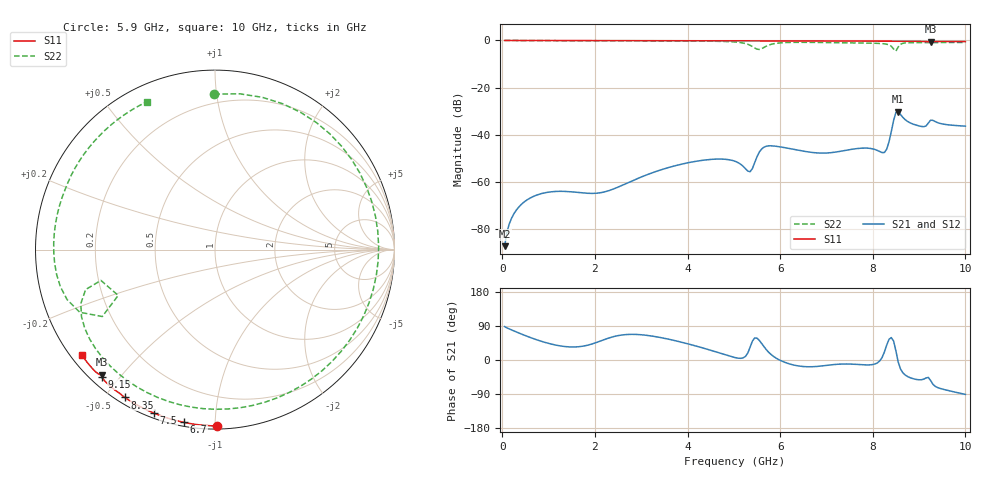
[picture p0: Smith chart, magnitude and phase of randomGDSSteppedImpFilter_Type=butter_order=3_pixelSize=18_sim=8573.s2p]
! freq	dB(S11)	phase(S11)	dB(S12)	phase(S12)
!  dB(S21)	phase(S21)	dB(S22)	phase(S22)
!S-par simulation data
#  GHz  S  DB  R 50
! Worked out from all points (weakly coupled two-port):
!   200 points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, 50 MHz to 10 GHz, reference 50 ohm
!   highest |S21| = -30.10 dB at 8.55 GHz (marker M1); lowest = -87.1 dB at 50 MHz (marker M2)
!   lowest |S11| = -0.5 dB at 9.25 GHz (marker M3), VSWR 31.88, Z = 1.88 - j22.2 ohm
!   |S11| at or under -10 dB: nowhere
!   |S22| runs from -4.5 to 0.0 dB; largest |S21 - S12| = 0
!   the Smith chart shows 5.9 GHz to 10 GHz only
!   S11 on the Smith chart (normalised r, x): 5.9 GHz: 0.02, -1.01; 6.7 GHz: 0.02, -0.84; 7.5 GHz: 0.02, -0.69; 8.35 GHz: 0.02, -0.56; 9.15 GHz: 0.03, -0.45; 10 GHz: 0.03, -0.35
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0.05  -0.00 -0.8  -87.08 88.2  -87.08 88.2  -0.00 -4.6
0.85  -0.02 -13.9  -64.80 49.1  -64.80 49.1  -0.08 -72.5
1.75  -0.04 -28.3  -64.56 36.6  -64.56 36.6  -0.12 -130.5
2.55  -0.05 -40.9  -61.65 65.4  -61.65 65.4  -0.14 -170.1
3.4  -0.07 -53.9  -54.93 59.6  -54.93 59.6  -0.17 151.7
4.45  -0.10 -69.3  -50.45 27.5  -50.45 27.5  -0.30 97.3
5.05  -0.12 -77.8  -51.33 5.8  -51.33 5.8  -0.69 44.6
5.3  -0.13 -81.3  -55.27 18.2  -55.27 18.2  -1.61 -4.4
5.4  -0.13 -82.7  -54.23 49.7  -54.23 49.7  -2.56 -41.3
5.5  -0.14 -84.0  -49.22 57.6  -49.22 57.6  -3.68 -97.8
5.65  -0.14 -86.1  -45.17 35.1  -45.17 35.1  -2.95 168.2
5.75  -0.15 -87.5  -44.61 20.7  -44.61 20.7  -1.98 127.8
5.9  -0.15 -89.5  -44.76 5.9  -44.76 5.9  -1.25 90.3
6.25  -0.17 -94.2  -45.93 -12.0  -45.93 -12.0  -0.81 39.3
6.7  -0.19 -100.1  -47.43 -17.7  -47.43 -17.7  -0.82 -9.0
7.5  -0.24 -110.5  -46.22 -10.7  -46.22 -10.7  -1.00 -85.4
8.25  -0.30 -120.1  -47.43 20.7  -47.43 20.7  -1.43 -148.8
8.35  -0.31 -121.4  -42.95 54.4  -42.95 54.4  -1.88 -158.1
8.55  -0.35 -123.8  -30.10 -5.8  -30.10 -5.8  -2.73 -149.3
9.15  -0.47 -131.7  -36.19 -47.4  -36.19 -47.4  -0.91 161.4
9.25  -0.55 -132.1  -33.73 -54.3  -33.73 -54.3  -0.91 155.5
10  -0.48 -141.7  -36.28 -90.8  -36.28 -90.8  -0.85 114.8
